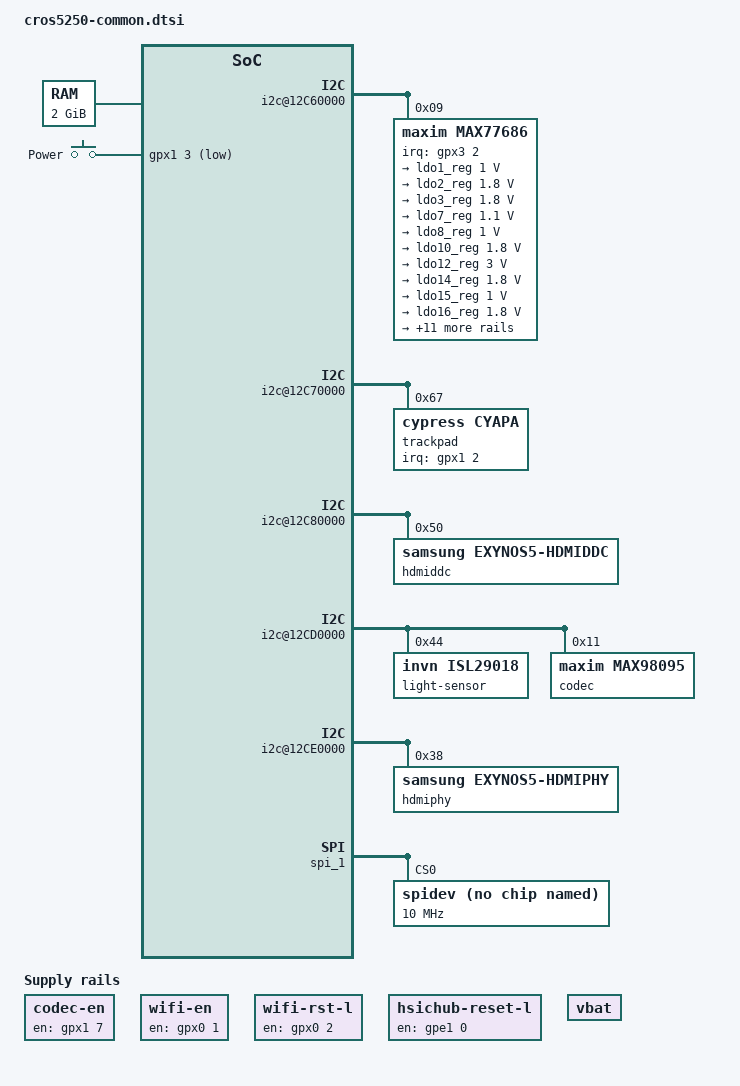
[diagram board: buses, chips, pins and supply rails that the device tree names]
/*
 * Common device tree include for all Exynos 5250 boards based off of Daisy.
 *
 * Copyright (c) 2012 Google, Inc
 *
 * This program is free software; you can redistribute it and/or modify
 * it under the terms of the GNU General Public License version 2 as
 * published by the Free Software Foundation.
*/

/ {
	aliases {
	};

	memory {
		reg = <0x40000000 0x80000000>;
	};

	ramoops {
		compatible = "ramoops";
		reg = <0x41f00000 0x00100000>;
		record-size = <0x00020000>;
		dump-oops;
	};

	chosen {
	};

	firmware {
		chromeos {
			write-protect-gpio = <&gpd1 6 1>;

			pinctrl-names = "default";
			pinctrl-0 = <&wp_gpio>;
		};
	};

	pinctrl@11400000 {
		/*
		 * Disabled pullups since external part has its own pullups and
		 * double-pulling gets us out of spec in some cases.
		 */
		i2c2_bus: i2c2-bus {
			samsung,pin-pud = <0>;
		};

		cyapa_irq: cyapa-irq {
			samsung,pins = "gpx1-2";
			samsung,pin-function = <0>;
			samsung,pin-pud = <0>;
			samsung,pin-drv = <0>;
		};

		hdmi_hpd_irq: hdmi-hpd-irq {
			samsung,pins = "gpx3-7";
			samsung,pin-function = <0>;
			samsung,pin-pud = <1>;
			samsung,pin-drv = <0>;
		};

		max77686_irq: max77686-irq {
			samsung,pins = "gpx3-2";
			samsung,pin-function = <0>;
			samsung,pin-pud = <0>;
			samsung,pin-drv = <0>;
		};

		max98095_en: max98095-en {
			samsung,pins = "gpx1-7";
			samsung,pin-function = <1>;
			samsung,pin-pud = <0>;
			samsung,pin-drv = <0>;
		};

		power_key_irq: power-key-irq {
			samsung,pins = "gpx1-3";
			samsung,pin-function = <0>;
			samsung,pin-pud = <0>;
			samsung,pin-drv = <0>;
		};

		sd_wp: sd-wp {
			samsung,pins = "gpc2-1";
			samsung,pin-function = <0>;
			samsung,pin-pud = <0>;
			samsung,pin-drv = <0>;
		};

		spi_cs: spi-cs {
			samsung,pins = "gpa2-5";
			samsung,pin-function = <1>;
			samsung,pin-pud = <0>;
			samsung,pin-drv = <3>;
		};

		wifi_en: wifi-en {
			samsung,pins = "gpx0-1";
			samsung,pin-function = <1>;
			samsung,pin-pud = <0>;
			samsung,pin-drv = <0>;
		};

		wifi_rst: wifi-rst {
			samsung,pins = "gpx0-2";
			samsung,pin-function = <1>;
			samsung,pin-pud = <0>;
			samsung,pin-drv = <0>;
		};

		wp_gpio: wp-gpio {
			samsung,pins = "gpd1-6";
			samsung,pin-function = <0>;
			samsung,pin-pud = <0>;
			samsung,pin-drv = <0>;
		};
	};

	pinctrl@13400000 {
		hsic_reset: hsic-reset {
			samsung,pins = "gpe1-0";
			samsung,pin-function = <1>;
			samsung,pin-pud = <0>;
			samsung,pin-drv = <0>;
		};

	};

	i2c@12C60000 {
		samsung,i2c-sda-delay = <100>;
		samsung,i2c-max-bus-freq = <378000>;

		max77686@09 {
			compatible = "maxim,max77686";
			interrupt-parent = <&gpx3>;
			interrupts = <2 0>;
			pinctrl-names = "default";
			pinctrl-0 = <&max77686_irq>;
			wakeup-source;
			reg = <0x09>;

			voltage-regulators {
				ldo1_reg: LDO1 {
					regulator-name = "P1.0V_LDO_OUT1";
					regulator-min-microvolt = <1000000>;
					regulator-max-microvolt = <1000000>;
					regulator-always-on;
					/* Output ON/LPM controlled by PWRREQ */
					max77686-opmode = <0x40>;
				};

				ldo2_reg: LDO2 {
					regulator-name = "P1.8V_LDO_OUT2";
					regulator-min-microvolt = <1800000>;
					regulator-max-microvolt = <1800000>;
					regulator-always-on;
					/* Output ON/OFF controlled by PWRREQ */
					max77686-opmode = <0x20>;
				};

				ldo3_reg: LDO3 {
					regulator-name = "P1.8V_LDO_OUT3";
					regulator-min-microvolt = <1800000>;
					regulator-max-microvolt = <1800000>;
					regulator-always-on;
					/* Output ON/LPM controlled by PWRREQ */
					max77686-opmode = <0x80>;
				};

				ldo7_reg: LDO7 {
					regulator-name = "P1.1V_LDO_OUT7";
					regulator-min-microvolt = <1100000>;
					regulator-max-microvolt = <1100000>;
					regulator-always-on;
					/* Output ON/OFF controlled by PWRREQ */
					max77686-opmode = <0x40>;
				};

				ldo8_reg: LDO8 {
					regulator-name = "P1.0V_LDO_OUT8";
					regulator-min-microvolt = <1000000>;
					regulator-max-microvolt = <1000000>;
					regulator-always-on;
					/* Output ON/OFF controlled by PWRREQ */
					max77686-opmode = <0x40>;
				};

				ldo10_reg: LDO10 {
					regulator-name = "P1.8V_LDO_OUT10";
					regulator-min-microvolt = <1800000>;
					regulator-max-microvolt = <1800000>;
					regulator-always-on;
					/* Output ON/OFF controlled by PWRREQ */
					max77686-opmode = <0x40>;
				};

				ldo12_reg: LDO12 {
					regulator-name = "P3.0V_LDO_OUT12";
					regulator-min-microvolt = <3000000>;
					regulator-max-microvolt = <3000000>;
					regulator-always-on;
					/* Output ON/OFF controlled by PWRREQ */
					max77686-opmode = <0x40>;
				};

				ldo14_reg: LDO14 {
					regulator-name = "P1.8V_LDO_OUT14";
					regulator-min-microvolt = <1800000>;
					regulator-max-microvolt = <1800000>;
					regulator-always-on;
					/* Output ON/OFF controlled by PWRREQ */
					max77686-opmode = <0x40>;
				};

				ldo15_reg: LDO15 {
					regulator-name = "P1.0V_LDO_OUT15";
					regulator-min-microvolt = <1000000>;
					regulator-max-microvolt = <1000000>;
					regulator-always-on;
					/* Output ON/OFF controlled by PWRREQ */
					max77686-opmode = <0x40>;
				};

				ldo16_reg: LDO16 {
					regulator-name = "P1.8V_LDO_OUT16";
					regulator-min-microvolt = <1800000>;
					regulator-max-microvolt = <1800000>;
					regulator-always-on;
					/* Output ON/OFF controlled by PWRREQ */
					max77686-opmode = <0x40>;
				};

				buck1_reg: BUCK1 {
					regulator-name = "vdd_mif";
					regulator-min-microvolt = <950000>;
					regulator-max-microvolt = <1300000>;
					regulator-always-on;
					regulator-boot-on;
					/* Output ON/OFF controlled by PWRREQ */
					max77686-opmode = <0x1>;
				};

				buck2_reg: BUCK2 {
					regulator-name = "vdd_arm";
					regulator-min-microvolt = <850000>;
					regulator-max-microvolt = <1350000>;
					regulator-always-on;
					regulator-boot-on;
					/* Output ON/OFF controlled by PWRREQ */
					max77686-opmode = <0x10>;
				};

				buck3_reg: BUCK3 {
					regulator-name = "vdd_int";
					regulator-min-microvolt = <900000>;
					regulator-max-microvolt = <1200000>;
					regulator-always-on;
					regulator-boot-on;
					/* Output ON/OFF controlled by PWRREQ */
					max77686-opmode = <0x10>;
				};

				buck4_reg: BUCK4 {
					regulator-name = "vdd_g3d";
					regulator-min-microvolt = <850000>;
					regulator-max-microvolt = <1300000>;
					regulator-always-on;
					regulator-boot-on;
					/* Output ON/OFF controlled by PWRREQ */
					max77686-opmode = <0x10>;
				};

				buck5_reg: BUCK5 {
					regulator-name = "P1.8V_BUCK_OUT5";
					regulator-min-microvolt = <1800000>;
					regulator-max-microvolt = <1800000>;
					regulator-always-on;
					regulator-boot-on;
					/* Output ON */
					max77686-opmode = <0x3>;
				};

				buck6_reg: BUCK6 {
					regulator-name = "P1.35V_BUCK_OUT6";
					regulator-min-microvolt = <1350000>;
					regulator-max-microvolt = <1350000>;
					regulator-always-on;
					/* Output ON */
					max77686-opmode = <0x3>;
				};

				buck7_reg: BUCK7 {
					regulator-name = "P2.0V_BUCK_OUT7";
					regulator-min-microvolt = <2000000>;
					regulator-max-microvolt = <2000000>;
					regulator-always-on;
					/* Output ON */
					max77686-opmode = <0x3>;
				};

				buck8_reg: BUCK8 {
					regulator-name = "P2.85V_BUCK_OUT8";
					regulator-min-microvolt = <2850000>;
					regulator-max-microvolt = <2850000>;
					regulator-always-on;
					/* Output OFF of ENB8 is low */
					max77686-opmode = <0x1>;
				};

				en32khz_ap: EN32KHZ_AP {
					regulator-name = "en32khz_ap";
					regulator-always-on;
				};

				en32khz_cp: EN32KHZ_CP {
					regulator-name = "en32khz_cp";
					regulator-always-on;
				};

				p32khz: P32KHZ {
					regulator-name = "p32khz";
					regulator-always-on;
				};
			};
		};
	};

	i2c@12C70000 {
		samsung,i2c-sda-delay = <100>;
		samsung,i2c-max-bus-freq = <378000>;

		trackpad {
			reg = <0x67>;
			compatible = "cypress,cyapa";
			interrupts = <2 0>;
			interrupt-parent = <&gpx1>;
			pinctrl-names = "default";
			pinctrl-0 = <&cyapa_irq>;
			wakeup-source;
		};
	};

	i2c@12C80000 {
		samsung,i2c-sda-delay = <100>;
		samsung,i2c-max-bus-freq = <66000>;

		hdmiddc@50 {
			compatible = "samsung,exynos5-hdmiddc";
			reg = <0x50>;
		};
	};

	i2c@12C90000 {
		samsung,i2c-sda-delay = <100>;
		samsung,i2c-max-bus-freq = <66000>;
	};

	i2c@12CA0000 {
		samsung,i2c-sda-delay = <100>;
		samsung,i2c-max-bus-freq = <66000>;

		/*
		 * No children can directly under i2c4 in cros5250-common since
		 * devices on exynos5250-snow that are on i2c4 need to go under
		 * the mux node (i2c_104).
		 */
	};

	i2c@12CB0000 {
		samsung,i2c-sda-delay = <100>;
		samsung,i2c-max-bus-freq = <66000>;
	};

	i2c@12CC0000 {
		status = "disabled";
	};

	i2c@12CD0000 {
		samsung,i2c-sda-delay = <100>;
		samsung,i2c-max-bus-freq = <66000>;

		light-sensor {
			compatible = "invn,isl29018";
			reg = <0x44>;
		};

		codec {
			compatible = "maxim,max98095";
			reg = <0x11>;
			mic-left-digital;
			mic-right-digital;
		};
	};

	i2c@12CE0000 {
		samsung,i2c-sda-delay = <100>;
		samsung,i2c-max-bus-freq = <378000>;

		hdmiphy@38 {
			compatible = "samsung,exynos5-hdmiphy";
			reg = <0x38>;
		};
	};

	adc@12D10000 {
		vdd-supply = <&buck5_reg>;
	};

	dwmmc0@12200000 {
		num-slots = <1>;
		supports-highspeed;
		broken-cd;
		fifo-depth = <0x80>;
		card-detect-delay = <200>;
		samsung,dw-mshc-ciu-div = <3>;
		samsung,dw-mshc-sdr-timing = <2 3>;
		samsung,dw-mshc-ddr-timing = <1 2>;
		pinctrl-names = "default";
		pinctrl-0 = <&sd0_clk &sd0_cmd &sd0_cd &sd0_bus4 &sd0_bus8>;

		slot@0 {
			reg = <0>;
			bus-width = <8>;
		};
	};

	dwmmc1@12210000 {
		status = "disabled";
	};

	dwmmc2@12220000 {
		num-slots = <1>;
		supports-highspeed;
		fifo-depth = <0x80>;
		card-detect-delay = <200>;
		samsung,dw-mshc-ciu-div = <3>;
		samsung,dw-mshc-sdr-timing = <2 3>;
		samsung,dw-mshc-ddr-timing = <1 2>;
		pinctrl-names = "default";
		pinctrl-0 = <&sd2_clk &sd2_cmd &sd2_cd &sd2_bus4 &sd_wp>;

		slot@0 {
			reg = <0>;
			bus-width = <4>;
			wp-gpios = <&gpc2 1 0>;
		};
	};

	dwmmc3@12230000 {
		num-slots = <1>;
		supports-highspeed;
		broken-cd;
		fifo-depth = <0x80>;
		card-detect-delay = <200>;
		samsung,dw-mshc-ciu-div = <3>;
		samsung,dw-mshc-sdr-timing = <2 3>;
		samsung,dw-mshc-ddr-timing = <1 2>;
		/* See board-specific dts files for pin setup */

		slot@0 {
			reg = <0>;
			bus-width = <4>;
		};
	};

	spi_0: spi@12d20000 {
		status = "disabled";
	};

	spi_1: spi@12d30000 {
		samsung,spi-src-clk = <0>;
		num-cs = <1>;

		spidev@0 {
			compatible = "spidev";
			reg = <0>;
			spi-max-frequency = <10000000>;
			pinctrl-names = "default";
			pinctrl-0 = <&spi_cs>;

			controller-data {
				cs-gpio = <&gpa2 5 0>;
				samsung,spi-feedback-delay = <2>;
			};
		};
	};

	spi_2: spi@12d40000 {
		status = "disabled";
	};

	codec@11000000 {
		samsung,mfc-r = <0x43000000 0x800000>;
		samsung,mfc-l = <0x51000000 0x800000>;
	};

	hdmi {
		hpd-gpio = <&gpx3 7 0>;
		pinctrl-names = "default";
		pinctrl-0 = <&hdmi_hpd_irq>;
	};

	max98095-en-regulator {
		compatible = "regulator-fixed";
		regulator-name = "codec-en";
		gpio = <&gpx1 7 0>;
		enable-active-high;
		regulator-boot-on;
		regulator-always-on;
		pinctrl-names = "default";
		pinctrl-0 = <&max98095_en>;
	};

	// NB: these are manually enabled in platform code
	wifi-en-regulator {
		compatible = "regulator-fixed";
		regulator-name = "wifi-en";
		gpio = <&gpx0 1 0>;
		enable-active-high;
		pinctrl-names = "default";
		pinctrl-0 = <&wifi_en>;
	};
	wifi-rst-regulator {
		compatible = "regulator-fixed";
		regulator-name = "wifi-rst-l";
		gpio = <&gpx0 2 0>;
		enable-active-high;
		startup-delay-us = <1500>;
		pinctrl-names = "default";
		pinctrl-0 = <&wifi_rst>;
	};

	gpio-keys {
		compatible = "gpio-keys";
		pinctrl-names = "default";
		pinctrl-0 = <&power_key_irq>;

		power {
			label = "Power";
			gpios = <&gpx1 3 1>;
			linux,code = <116>; /* KEY_POWER */
			gpio-key,wakeup;
		};
	};

	sound {
		compatible = "google,daisy-audio-max98095";
	};

	fixed-regulator {
		compatible = "regulator-fixed";
		regulator-name = "hsichub-reset-l";
		gpio = <&gpe1 0 0>;
		enable-active-high;
		pinctrl-names = "default";
		pinctrl-0 = <&hsic_reset>;
	};

	vbat: vbat-fixed-regulator {
		compatible = "regulator-fixed";
		regulator-name = "vbat-supply";
		regulator-boot-on;
	};
};
